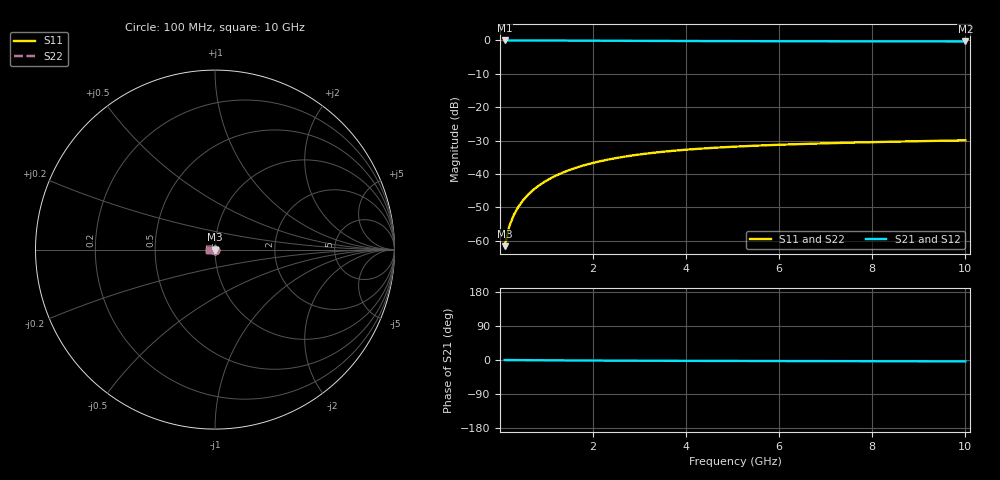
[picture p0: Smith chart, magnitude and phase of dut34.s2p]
! Touchstone file exported from HFSS 2024.1.0
!  File:  C:/UserFiles/LocalFiles/RDL_TSV_Batchsim/temp_TSV1_34_1779370380.aedt
!  Generated:  09:38:00 PM May 21, 2026
!  Design:  TSV1
!  Project:  temp_TSV1_34_1779370380
!  Setup:  Setup1
!  Solution:  Sweep
! Variables:
!  dtsv = 9.25um
!  hbump = 3um
!  htsv = 55um
!  lrdl = 252.1521522um
!  p = 40
!  p1 = 43.75um
!  t = 500um
!  trdl = 3um
!  wrdl = 24.89489489um
# GHz S MA R 50.000000
! Terminal data exported
! Port[1] = TSV22_T1
! Port[2] = TSV22_T2
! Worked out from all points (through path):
!   100 points, 100 MHz to 10 GHz, reference 50 ohm
!   highest |S21| = 0.00 dB at 100 MHz (marker M1); lowest = -0.3 dB at 10 GHz (marker M2)
!   lowest |S11| = -61.6 dB at 100 MHz (marker M3), VSWR 1.00, Z = 50 - j0.0824 ohm
!   |S11| at or under -10 dB: start of sweep to end of sweep
!   |S22| runs from -61.6 to -29.9 dB; largest |S21 - S12| = 4.6e-15
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0.1  0.0008312 -82.1  0.9998 -0.1  0.9998 -0.1  0.0008312 -82.1
! Gamma 0 0 0 0
! Port Impedance 50 0 50 0
0.2  0.001644 -88.6  0.9998 -0.2  0.9998 -0.2  0.001644 -88.6
0.3  0.002457 -91.9  0.9996 -0.3  0.9996 -0.3  0.002457 -91.9
0.4  0.003267 -94.4  0.9994 -0.3  0.9994 -0.3  0.003267 -94.4
0.5  0.004072 -96.6  0.9992 -0.4  0.9992 -0.4  0.004072 -96.6
0.6  0.004869 -98.6  0.9989 -0.5  0.9989 -0.5  0.004869 -98.6
0.7  0.005659 -100.5  0.9986 -0.6  0.9986 -0.6  0.005659 -100.5
0.8  0.006439 -102.3  0.9982 -0.7  0.9982 -0.7  0.006439 -102.3
0.9  0.007207 -104.0  0.9978 -0.7  0.9978 -0.7  0.007207 -104.0
1.1  0.008706 -107.4  0.9969 -0.9  0.9969 -0.9  0.008706 -107.4
1.4  0.01085 -112.2  0.9954 -1.1  0.9954 -1.1  0.01085 -112.2
1.6  0.01219 -115.3  0.9943 -1.2  0.9943 -1.2  0.01219 -115.2
1.8  0.01346 -118.2  0.9931 -1.3  0.9931 -1.3  0.01346 -118.2
2.1  0.01524 -122.3  0.9913 -1.5  0.9913 -1.5  0.01524 -122.3
2.5  0.01736 -127.5  0.989 -1.7  0.989 -1.7  0.01736 -127.5
2.9  0.01921 -132.2  0.9866 -1.9  0.9866 -1.9  0.01921 -132.2
3.4  0.02118 -137.5  0.9839 -2.1  0.9839 -2.1  0.02118 -137.5
4.2  0.02369 -145.0  0.9801 -2.3  0.9801 -2.3  0.02369 -145.0
5.1  0.0258 -152.0  0.9765 -2.5  0.9765 -2.5  0.0258 -152.0
6.7  0.02844 -162.1  0.9719 -2.9  0.9719 -2.9  0.02844 -162.1
8.4  0.03043 -170.6  0.9687 -3.3  0.9687 -3.3  0.03043 -170.6
10  0.03198 -177.3  0.9666 -3.7  0.9666 -3.7  0.03198 -177.3
